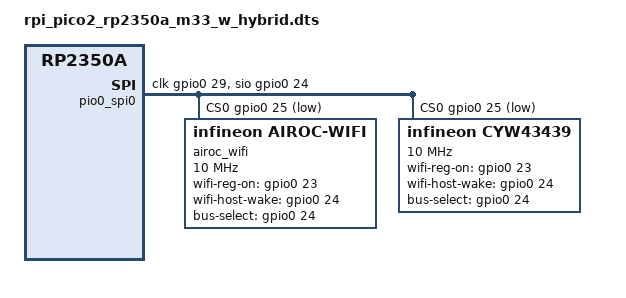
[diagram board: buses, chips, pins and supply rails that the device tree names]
/*
 * Raspberry Pi Pico 2 W - Hybrid MFD + Original WiFi
 * Copyright (c) 2026 Beechwoods Software
 * SPDX-License-Identifier: Apache-2.0
 * 
 * This DTS demonstrates MFD coexisting with original WiFi driver
 */

/dts-v1/;

#include <raspberrypi/rpi_pico/rp2350a.dtsi>
#include <raspberrypi/rpi_pico/m33.dtsi>
#include "rpi_pico2.dtsi"

&pinctrl {
	pio0_spi0_default: pio0_spi0_default {
		group1 {
			pinmux = <PIO0_P29>;
		};
	};
};

&pio0 {
	status = "okay";

	pio0_spi0: pio0_spi0 {
		compatible = "raspberrypi,pico-spi-pio";
		clocks = <&clocks RPI_PICO_CLKID_CLK_SYS>;
		#address-cells = <1>;
		#size-cells = <0>;
		cs-gpios = <&gpio0 25 GPIO_ACTIVE_LOW>;
		clk-gpios = <&gpio0 29 GPIO_ACTIVE_HIGH>;
		sio-gpios = <&gpio0 24 GPIO_ACTIVE_HIGH>;
		pinctrl-0 = <&pio0_spi0_default>;
		pinctrl-names = "default";
		status = "okay";

		/* Original AIROC WiFi node - for WiFi functionality */
		airoc_wifi: airoc-wifi@0 {
			compatible = "infineon,airoc-wifi";
			reg = <0>;
			spi-max-frequency = <10000000>;
			wifi-reg-on-gpios = <&gpio0 23 GPIO_ACTIVE_HIGH>;
			wifi-host-wake-gpios = <&gpio0 24 GPIO_ACTIVE_HIGH>;
			bus-select-gpios = <&gpio0 24 GPIO_ACTIVE_HIGH>;
			status = "okay";
		};

		/* MFD node - for LED control via MFD framework */
		cyw43439: cyw43439@0 {
			compatible = "infineon,cyw43439";
			reg = <0>;
			spi-max-frequency = <10000000>;
			wifi-reg-on-gpios = <&gpio0 23 GPIO_ACTIVE_HIGH>;
			wifi-host-wake-gpios = <&gpio0 24 GPIO_ACTIVE_HIGH>;
			bus-select-gpios = <&gpio0 24 GPIO_ACTIVE_HIGH>;
			status = "okay";
			
			cyw43439_led: led {
				compatible = "infineon,cyw43439-led";
				gpios = <0>;
				status = "okay";
			};
		};
	};
};

/ {
	aliases {
		led0 = &cyw43439_led;
	};
};
